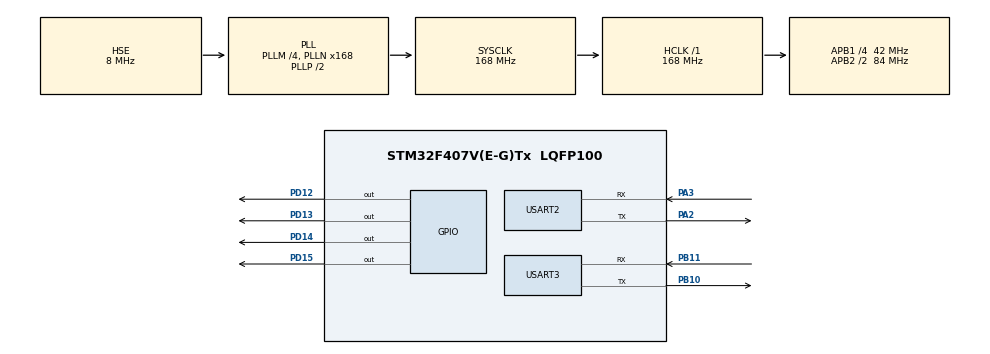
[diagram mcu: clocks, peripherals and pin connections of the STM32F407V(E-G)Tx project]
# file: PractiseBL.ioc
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Mcu.Family=STM32F4
Mcu.Name=STM32F407V(E-G)Tx
Mcu.Package=LQFP100
NVIC.PriorityGroup=NVIC_PRIORITYGROUP_4
PA2.GPIO_PuPd=GPIO_PULLUP
PA2.GPIO_Speed=GPIO_SPEED_FREQ_MEDIUM
PA2.Mode=Asynchronous
PA2.Signal=USART2_TX
PA3.GPIO_PuPd=GPIO_PULLUP
PA3.GPIO_Speed=GPIO_SPEED_FREQ_MEDIUM
PA3.Mode=Asynchronous
PA3.Signal=USART2_RX
PB10.GPIO_PuPd=GPIO_PULLUP
PB10.GPIO_Speed=GPIO_SPEED_FREQ_MEDIUM
PB10.Mode=Asynchronous
PB10.Signal=USART3_TX
PB11.GPIO_PuPd=GPIO_PULLUP
PB11.GPIO_Speed=GPIO_SPEED_FREQ_MEDIUM
PB11.Mode=Asynchronous
PB11.Signal=USART3_RX
PD12.GPIO_PuPd=GPIO_NOPULL
PD12.GPIO_Speed=GPIO_SPEED_FREQ_MEDIUM
PD12.Signal=GPIO_Output
PD13.GPIO_PuPd=GPIO_NOPULL
PD13.GPIO_Speed=GPIO_SPEED_FREQ_MEDIUM
PD13.Signal=GPIO_Output
PD14.GPIO_PuPd=GPIO_NOPULL
PD14.GPIO_Speed=GPIO_SPEED_FREQ_MEDIUM
PD14.Signal=GPIO_Output
PD15.GPIO_PuPd=GPIO_NOPULL
PD15.GPIO_Speed=GPIO_SPEED_FREQ_MEDIUM
PD15.Signal=GPIO_Output
PH0-OSC_IN.Mode=HSE-External-Oscillator
PH0-OSC_IN.Signal=RCC_OSC_IN
PH1-OSC_OUT.Mode=HSE-External-Oscillator
PH1-OSC_OUT.Signal=RCC_OSC_OUT
ProjectManager.HeapSize=0x200
ProjectManager.StackSize=0x400
ProjectManager.TargetToolchain=MDK-ARM V5.32
RCC.48MHZClocksFreq_Value=84000000
RCC.AHBFreq_Value=168000000
RCC.APB1CLKDivider=RCC_HCLK_DIV4
RCC.APB1Freq_Value=42000000
RCC.APB1TimFreq_Value=84000000
RCC.APB2CLKDivider=RCC_HCLK_DIV2
RCC.APB2Freq_Value=84000000
RCC.APB2TimFreq_Value=168000000
RCC.CortexFreq_Value=168000000
RCC.HCLKFreq_Value=168000000
RCC.HSE_VALUE=8000000
RCC.HSI_VALUE=16000000
RCC.LSE_VALUE=32768
RCC.PLLM=4
RCC.PLLN=168
RCC.PLLSourceVirtual=RCC_PLLSOURCE_HSE
RCC.SYSCLKFreq_VALUE=168000000
RCC.SYSCLKSource=RCC_SYSCLKSOURCE_PLLCLK
RCC.VCOOutputFreq_Value=336000000
USART2.VirtualMode=VM_ASYNC
USART3.VirtualMode=VM_ASYNC
VP_CRC_VS_CRC.Mode=CRC_Activate
board=custom

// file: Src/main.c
/* USER CODE BEGIN Header */
/**
  ******************************************************************************
  * @file           : main.c
  * @brief          : Main program body
  ******************************************************************************
  * @attention
  *
  * Copyright (c) 2024 STMicroelectronics.
  * All rights reserved.
  *
  * This software is licensed under terms that can be found in the LICENSE file
  * in the root directory of this software component.
  * If no LICENSE file comes with this software, it is provided AS-IS.
  *
  ******************************************************************************
  */
/* USER CODE END Header */
#include "main.h"
#include "crc.h"
#include "usart.h"
#include "gpio.h"

/* USER CODE BEGIN Includes */

#include "bootloader.h"
#include "led.h"

/* USER CODE END Includes */

void SystemClock_Config(void);

/* USER CODE BEGIN 0 */

void jump_To_Application(void)
{

	/*	address of main stack pointer in sector 2 of flash	*/
	uint32_t application_MSP = (*((volatile uint32_t *)0x08008000));

	/*	address of reset handler in sector 2 of flash	*/
	uint32_t application_Reset_Handler = (*((volatile uint32_t *)0x08008004));

	/*	de-Init all modules to have them in initial state before starting application	(especially RCC)	*/
	HAL_GPIO_DeInit(GPIOD, GPIO_PIN_12|GPIO_PIN_13|GPIO_PIN_14|GPIO_PIN_15);
	HAL_CRC_DeInit(&hcrc);
	HAL_UART_DeInit(&huart2);
	HAL_UART_DeInit(&huart3);
	HAL_RCC_DeInit();

	/*	using CMSIS function set MSP to the MSP address of applcation	*/
	__set_MSP(application_MSP);

	/*	make a pointer to function to jump to application	*/
	typedef void(*ptrToFun)(void);
	ptrToFun application = (ptrToFun)application_Reset_Handler;

	/*	BYE	*/
	application();

}

FILE __stdout;
FILE __stdin;

int fputc(int ch, FILE *f)
{
  ITM_SendChar(ch);
  return(ch);
}

HAL_StatusTypeDef uartStatus = HAL_ERROR;
/* USER CODE END 0 */

int main(void)
{

  /* MCU Configuration--------------------------------------------------------*/

  /* Reset of all peripherals, Initializes the Flash interface and the Systick. */
  HAL_Init();

  /* Configure the system clock */
  SystemClock_Config();

  /* Initialize all configured peripherals */
  MX_GPIO_Init();
  MX_CRC_Init();
  MX_USART2_UART_Init();
  MX_USART3_UART_Init();
  /* USER CODE BEGIN 2 */

	BL_StatusTypeDef blStatus =BL_OK;

  /* USER CODE END 2 */

  /* Infinite loop */
  /* USER CODE BEGIN WHILE */

#ifdef SWO_DEBUGGING
	printf("\r\nBootloader Initializing Done!\r\n");
#endif
  while (1)
  {

    /* USER CODE END WHILE */

    /* USER CODE BEGIN 3 */

		LED_Turn_On(LED_GREEN);
		blStatus |= bootloader_Receive_From_Host();

  }
  /* USER CODE END 3 */
}

void SystemClock_Config(void)
{
  RCC_OscInitTypeDef RCC_OscInitStruct = {0};
  RCC_ClkInitTypeDef RCC_ClkInitStruct = {0};

  /** Configure the main internal regulator output voltage
  */
  __HAL_RCC_PWR_CLK_ENABLE();
  __HAL_PWR_VOLTAGESCALING_CONFIG(PWR_REGULATOR_VOLTAGE_SCALE1);

  /** Initializes the RCC Oscillators according to the specified parameters
  * in the RCC_OscInitTypeDef structure.
  */
  RCC_OscInitStruct.OscillatorType = RCC_OSCILLATORTYPE_HSE;
  RCC_OscInitStruct.HSEState = RCC_HSE_ON;
  RCC_OscInitStruct.PLL.PLLState = RCC_PLL_ON;
  RCC_OscInitStruct.PLL.PLLSource = RCC_PLLSOURCE_HSE;
  RCC_OscInitStruct.PLL.PLLM = 4;
  RCC_OscInitStruct.PLL.PLLN = 168;
  RCC_OscInitStruct.PLL.PLLP = RCC_PLLP_DIV2;
  RCC_OscInitStruct.PLL.PLLQ = 4;
  if (HAL_RCC_OscConfig(&RCC_OscInitStruct) != HAL_OK)
  {
    Error_Handler();
  }

  /** Initializes the CPU, AHB and APB buses clocks
  */
  RCC_ClkInitStruct.ClockType = RCC_CLOCKTYPE_HCLK|RCC_CLOCKTYPE_SYSCLK
                              |RCC_CLOCKTYPE_PCLK1|RCC_CLOCKTYPE_PCLK2;
  RCC_ClkInitStruct.SYSCLKSource = RCC_SYSCLKSOURCE_PLLCLK;
  RCC_ClkInitStruct.AHBCLKDivider = RCC_SYSCLK_DIV1;
  RCC_ClkInitStruct.APB1CLKDivider = RCC_HCLK_DIV4;
  RCC_ClkInitStruct.APB2CLKDivider = RCC_HCLK_DIV2;

  if (HAL_RCC_ClockConfig(&RCC_ClkInitStruct, FLASH_LATENCY_5) != HAL_OK)
  {
    Error_Handler();
  }
}

void Error_Handler(void)
{
  __disable_irq();
  while (1)
  {
  }
}
